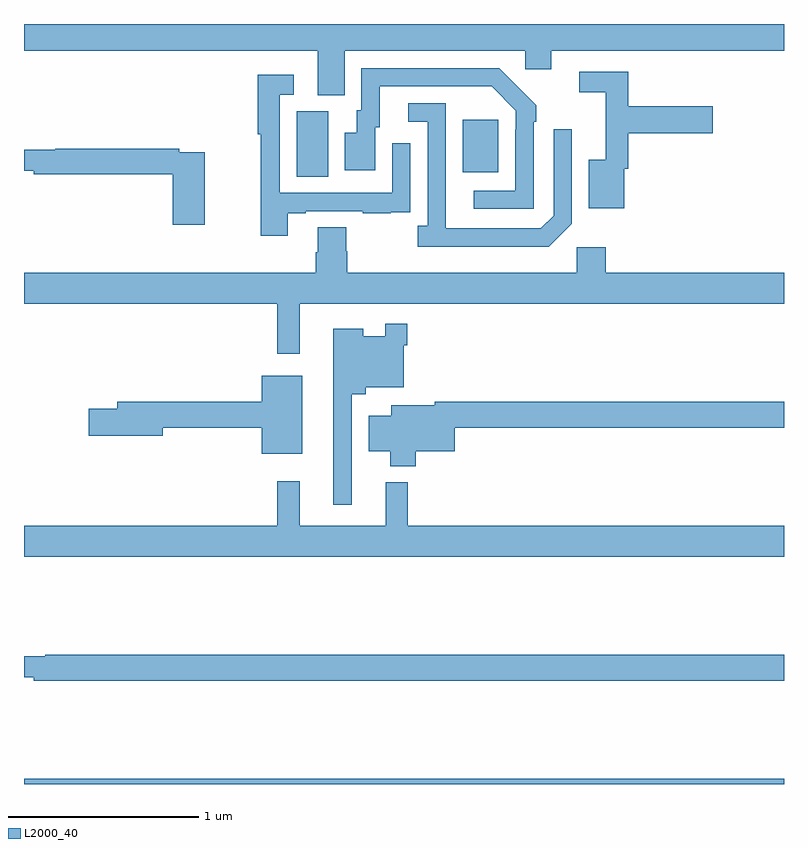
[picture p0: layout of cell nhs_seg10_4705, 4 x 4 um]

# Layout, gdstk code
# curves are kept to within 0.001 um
import gdstk
lib = gdstk.Library(unit=1e-6, precision=1e-09)
def R(c, l, rs):  # rectangles x0, y0, x1, y1
    for r in rs: c.add(gdstk.rectangle(r[:2], r[2:], *l))
def P(c, l, *ps):  # polygons
    for p in ps: c.add(gdstk.Polygon(p, *l))
L2000_40 = (2000, 40)

nhs_seg10_4705 = lib.new_cell('nhs_seg10_4705')
R(nhs_seg10_4705, L2000_40, [(381,1252.5,385,1252.528), (382.436,1255.696,382.6,1256.04), (383.309,1255.721,383.497,1255.996)])
P(nhs_seg10_4705, L2000_40, [(381,1256.36),(382.547,1256.36),(382.547,1256.125),(382.687,1256.125),(382.687,1256.36),(383.637,1256.36),(383.637,1256.262),(383.776,1256.262),(383.776,1256.36),(385,1256.36),(385,1256.5),(381,1256.5)],
  [(383.682,1255.985),(383.697,1255.985),(383.697,1256.073),(383.5,1256.268),(382.776,1256.268),(382.776,1256.046),(382.751,1256.046),(382.751,1255.927),(382.688,1255.927),(382.688,1255.731),(382.849,1255.731),(382.849,1255.956),(382.873,1255.956),(382.873,1256.172),(383.461,1256.172),(383.589,1256.043),(383.589,1255.943),(383.586,1255.943),(383.586,1255.623),(383.367,1255.623),(383.367,1255.527),(383.682,1255.527)],
  [(384.16,1255.737),(384.179,1255.737),(384.179,1255.925),(384.625,1255.925),(384.625,1256.067),(384.179,1256.067),(384.179,1256.25),(383.922,1256.25),(383.922,1256.142),(384.062,1256.142),(384.062,1255.786),(383.972,1255.786),(383.972,1255.529),(384.16,1255.529)],
  [(382.387,1255.503),(382.483,1255.503),(382.483,1255.515),(382.783,1255.515),(382.783,1255.503),(382.931,1255.503),(382.931,1255.509),(383.033,1255.509),(383.033,1255.618),(383.034,1255.618),(383.034,1255.873),(382.938,1255.873),(382.938,1255.611),(382.347,1255.611),(382.347,1256.127),(382.42,1256.127),(382.42,1256.233),(382.231,1256.233),(382.231,1255.92),(382.246,1255.92),(382.246,1255.386),(382.387,1255.386)],
  [(383.883,1255.449),(383.883,1255.945),(383.787,1255.945),(383.787,1255.491),(383.721,1255.425),(383.221,1255.425),(383.22,1256.082),(383.022,1256.082),(383.022,1255.986),(383.124,1255.986),(383.124,1255.438),(383.073,1255.438),(383.073,1255.328),(383.762,1255.328)],
  [(381.952,1255.824),(381.818,1255.824),(381.818,1255.844),(381.165,1255.844),(381.165,1255.837),(381,1255.837),(381,1255.727),(381.052,1255.727),(381.052,1255.708),(381.782,1255.708),(381.782,1255.443),(381.952,1255.443)],
  [(382.45,1255.028),(385,1255.028),(385,1255.192),(384.062,1255.192),(384.062,1255.324),(383.91,1255.324),(383.91,1255.192),(382.7,1255.192),(382.7,1255.305),(382.695,1255.305),(382.695,1255.43),(382.547,1255.43),(382.547,1255.298),(382.535,1255.298),(382.535,1255.192),(381,1255.192),(381,1255.028),(382.333,1255.028),(382.333,1254.765),(382.45,1254.765)],
  [(382.725,1254.551),(382.799,1254.551),(382.799,1254.587),(382.998,1254.587),(382.998,1254.809),(383.018,1254.809),(383.018,1254.922),(382.902,1254.922),(382.902,1254.856),(382.786,1254.856),(382.786,1254.895),(382.628,1254.895),(382.628,1253.97),(382.725,1253.97)],
  [(382.465,1254.649),(382.25,1254.649),(382.25,1254.512),(381.491,1254.512),(381.491,1254.476),(381.342,1254.476),(381.342,1254.334),(381.73,1254.334),(381.73,1254.376),(382.25,1254.376),(382.25,1254.239),(382.465,1254.239)],
  [(383.063,1254.251),(383.266,1254.251),(383.266,1254.376),(385,1254.376),(385,1254.512),(383.162,1254.512),(383.162,1254.493),(382.934,1254.493),(382.934,1254.439),(382.814,1254.439),(382.814,1254.251),(382.928,1254.251),(382.928,1254.173),(383.063,1254.173)],
  [(385,1253.86),(383.021,1253.86),(383.021,1254.088),(382.904,1254.088),(382.904,1253.86),(382.451,1253.86),(382.451,1254.094),(382.333,1254.094),(382.333,1253.86),(381,1253.86),(381,1253.696),(385,1253.696)],
  [(385,1253.18),(381.113,1253.18),(381.113,1253.173),(381,1253.173),(381,1253.063),(381.052,1253.063),(381.052,1253.044),(385,1253.044)])

lib.write_gds('nhs_seg10_4705.gds')
